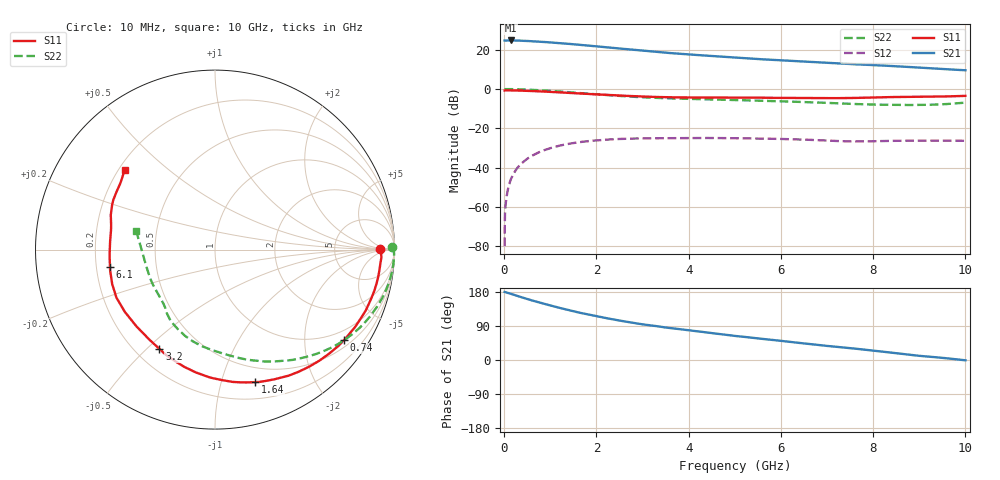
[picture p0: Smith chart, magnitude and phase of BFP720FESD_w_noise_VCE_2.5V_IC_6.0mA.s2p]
! Infineon Technologies  Discrete & RF Semiconductors
! BFP720FESD
! VCE =  2.5 V,  IC =  6.0 mA
! Common Emitter S-Parameters:  Jan 2016
# GHz  S  MA  R  50
!  f  S11  S21  S12  S22
! GHz  MAG  ANG  MAG  ANG  MAG  ANG  MAG  ANG
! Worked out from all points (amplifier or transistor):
!   233 points, 10 MHz to 10 GHz, reference 50 ohm
!   highest |S21| = 24.7 dB at 150 MHz (marker M1)
!   |S21| within 3 dB of that: start of sweep to 1.998 GHz
!   unconditionally stable (mu >= 1): 6.956 GHz to end of sweep
!   at 200 MHz: K = 0.01, MSG = 34.0 dB, |S12| = -43.3 dB
!   at 1.74 GHz: K = 0.21, MSG = 24.5 dB, |S12| = -26.7 dB
!   at 10 GHz: K = 1.43, MAG = 14.0 dB, |S12| = -26.3 dB
!   lowest NFmin = 0.55 dB at 450 MHz
!   S11 on the Smith chart (normalised r, x): 10 MHz: 24, +2; 740 MHz: 0.69, -3.01; 1.64 GHz: 0.35, -1.29; 3.2 GHz: 0.30, -0.55; 6.1 GHz: 0.26, -0.08; 10 GHz: 0.22, +0.36
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0.01  0.9201 0.3  17.26 179.6  0.0001 128.5  0.9888 0.8
0.02  0.9251 -1.1  17.2 179.2  0.0008 95.0  0.9968 -0.5
0.03  0.9262 -1.6  17.18 178.8  0.0011 92.6  0.9972 -0.8
0.15  0.9233 -7.5  17.28 174.3  0.0052 85.7  0.9966 -4.9
0.44  0.9066 -21.3  16.87 163.3  0.0148 77.0  0.9761 -14.3
0.74  0.8774 -35.2  16.15 152.6  0.0242 68.2  0.9392 -23.6
0.94  0.855 -44.2  15.59 145.9  0.0297 62.8  0.9096 -29.5
1.2  0.8251 -55.5  14.83 137.6  0.0362 56.0  0.8666 -37.1
1.4  0.7996 -63.9  14.17 131.5  0.0404 51.0  0.8313 -42.6
1.64  0.772 -73.1  13.4 124.7  0.0445 45.4  0.7906 -48.7
1.68  0.7673 -74.6  13.27 123.7  0.0452 44.6  0.7841 -49.7
2.02  0.7306 -86.1  12.16 115.1  0.0495 37.9  0.7324 -57.6
2.4  0.6949 -98.2  11.07 106.3  0.053 31.3  0.6812 -66.2
2.82  0.6583 -110.4  9.943 97.5  0.0552 25.0  0.6335 -74.7
3.2  0.6337 -119.3  9.049 91.0  0.0559 20.7  0.6025 -80.6
3.4  0.6241 -123.8  8.622 87.6  0.0561 18.8  0.5899 -83.4
4.4  0.6094 -143.5  7.073 72.5  0.0568 11.1  0.5473 -95.9
5.1  0.6087 -155.5  6.216 62.4  0.0559 6.7  0.522 -104.7
6.1  0.5932 -170.6  5.324 49.2  0.0533 1.9  0.4841 -116.5
6.8  0.5858 178.3  4.806 39.9  0.0499 0.1  0.4541 -124.9
8.4  0.6256 156.3  3.864 19.3  0.048 6.0  0.3971 -150.9
10  0.6706 138.7  3.01 -0.8  0.0482 6.6  0.451 166.8
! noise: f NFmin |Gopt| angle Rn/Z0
0.45  0.55  0.51  3  0.14
2.4  0.67  0.32  30  0.15
5.5  0.83  0.37  108  0.1
10  1.36  0.31  -161  0.09
